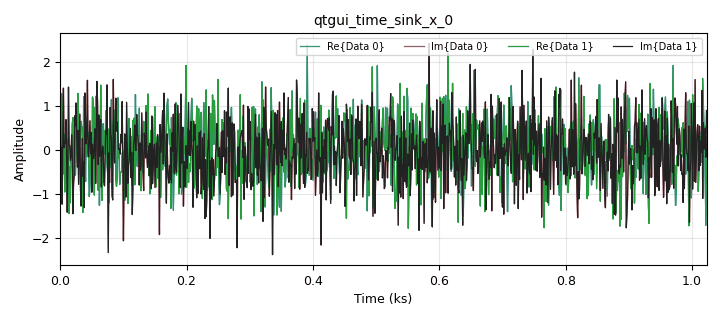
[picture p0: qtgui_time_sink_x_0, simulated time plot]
options:
  parameters:
    generate_options: qt_gui
    id: correlation_gnuradio_octave
    output_language: python
    title: Not titled yet
  states: {}

blocks:
- name: delay
  id: variable_qtgui_range
  parameters:
    start: '-nfft'
    step: '1'
    stop: nfft
    value: '0'
  states: {}
- name: nfft
  id: variable
  parameters:
    value: '1024'
  states: {}
- name: rx_msg_size
  id: variable
  parameters:
    value: nfft
  states: {}
- name: samp_rate
  id: variable
  parameters:
    value: 1e6
  states: {}
- name: tx_msg_size
  id: variable
  parameters:
    value: 2*nfft
  states: {}
- name: analog_noise_source_x_0
  id: analog_noise_source_x
  parameters:
    amp: '1'
    noise_type: analog.GR_GAUSSIAN
    seed: '0'
    type: complex
  states: {}
- name: blocks_complex_to_mag_0
  id: blocks_complex_to_mag
  parameters: {}
  states: {}
- name: blocks_delay_0
  id: blocks_delay
  parameters:
    delay: delay
    type: complex
  states: {}
- name: blocks_interleave_0
  id: blocks_interleave
  parameters:
    type: complex
  states: {}
- name: blocks_stream_to_vector_0
  id: blocks_stream_to_vector
  parameters:
    num_items: tx_msg_size
    type: complex
  states: {}
- name: blocks_throttle2_0
  id: blocks_throttle2
  parameters:
    samples_per_second: 2*samp_rate
    type: complex
  states: {}
- name: blocks_throttle2_0_0
  id: blocks_throttle2
  parameters:
    samples_per_second: samp_rate
    type: complex
  states: {}
- name: blocks_vector_to_stream_0
  id: blocks_vector_to_stream
  parameters:
    num_items: rx_msg_size
    type: complex
  states: {}
- name: qtgui_time_sink_x_0
  id: qtgui_time_sink_x
  parameters:
    autoscale: 'True'
    nconnections: '2'
    size: '1024'
    srate: '1'
    type: complex
  states: {}
- name: qtgui_time_sink_x_1
  id: qtgui_time_sink_x
  parameters:
    autoscale: 'True'
    legend: 'False'
    size: nfft
    srate: '1'
    type: float
    ylabel: corr
  states: {}
- name: zeromq_pull_source_0
  id: zeromq_pull_source
  parameters:
    address: tcp://127.0.0.1:5556
    timeout: '100'
    type: complex
    vlen: rx_msg_size
  states: {}
- name: zeromq_push_sink_0
  id: zeromq_push_sink
  parameters:
    address: tcp://127.0.0.1:5555
    timeout: '100'
    type: complex
    vlen: tx_msg_size
  states: {}

connections:
- [analog_noise_source_x_0, '0', blocks_delay_0, '0']
- [analog_noise_source_x_0, '0', blocks_interleave_0, '0']
- [analog_noise_source_x_0, '0', qtgui_time_sink_x_0, '0']
- [blocks_complex_to_mag_0, '0', qtgui_time_sink_x_1, '0']
- [blocks_delay_0, '0', blocks_interleave_0, '1']
- [blocks_delay_0, '0', qtgui_time_sink_x_0, '1']
- [blocks_interleave_0, '0', blocks_throttle2_0, '0']
- [blocks_stream_to_vector_0, '0', zeromq_push_sink_0, '0']
- [blocks_throttle2_0, '0', blocks_stream_to_vector_0, '0']
- [blocks_throttle2_0_0, '0', blocks_complex_to_mag_0, '0']
- [blocks_vector_to_stream_0, '0', blocks_throttle2_0_0, '0']
- [zeromq_pull_source_0, '0', blocks_vector_to_stream_0, '0']

metadata:
  file_format: 1
  grc_version: 3.10.7.0
